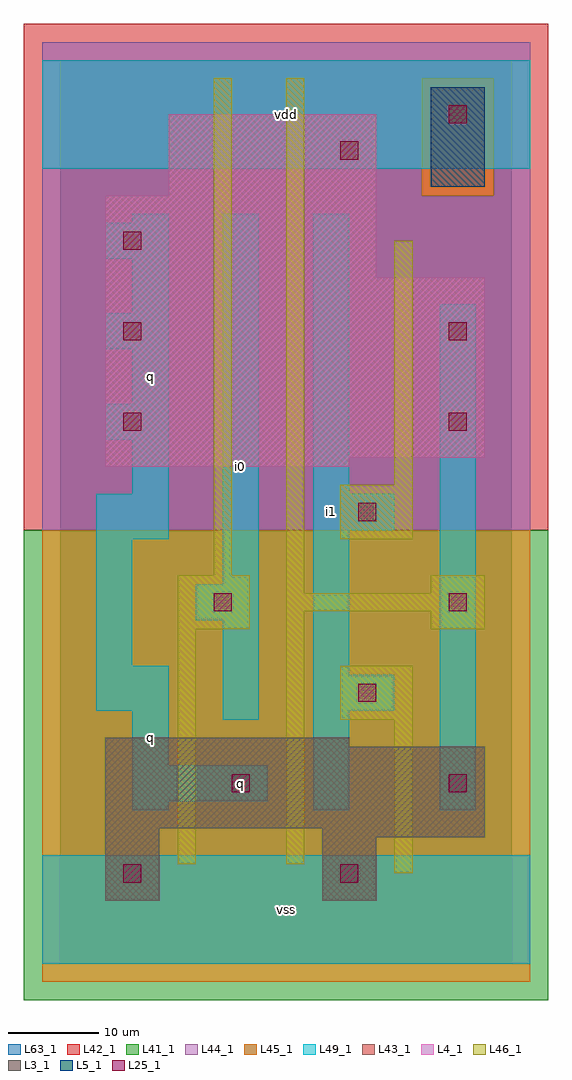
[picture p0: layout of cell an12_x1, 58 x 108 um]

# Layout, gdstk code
import gdstk
lib = gdstk.Library(unit=1e-6, precision=1e-09)
def R(c, l, rs):  # rectangles x0, y0, x1, y1
    for r in rs: c.add(gdstk.rectangle(r[:2], r[2:], *l))
def A(c, l, x, y, w, h, nx, ny, dx, dy):  # array of equal rectangles
    R(c, l, [(x+i*dx, y+j*dy, x+i*dx+w, y+j*dy+h) for i in range(nx) for j in range(ny)])
L3_1 = (3, 1)
L4_1 = (4, 1)
L5_1 = (5, 1)
L25_1 = (25, 1)
L41_1 = (41, 1)
L42_1 = (42, 1)
L43_1 = (43, 1)
L44_1 = (44, 1)
L45_1 = (45, 1)
L46_1 = (46, 1)
L49_1 = (49, 1)
L63_1 = (63, 1)

an12_x1 = lib.new_cell('an12_x1')
R(an12_x1, L3_1, [(5,7,11,15), (29,7,35,14), (29,14,47,15), (5,15,47,24), (5,24,32,25)])
R(an12_x1, L4_1, [(5,55,32,56), (5,56,47,76), (5,76,35,85), (12,85,35,94)])
R(an12_x1, L5_1, [(41,86,47,97)])
A(an12_x1, L25_1, 43, 19, 2, 2, 1, 3, 0, 20)
A(an12_x1, L25_1, 7, 59, 2, 2, 1, 3, 0, 10)
R(an12_x1, L25_1, [(7,9,9,11), (31,9,33,11), (19,19,21,21), (33,29,35,31), (17,39,19,41), (33,49,35,51), (43,69,45,71), (31,89,33,91), (43,93,45,95)])
R(an12_x1, L41_1, [(-4,-4,54,48)])
R(an12_x1, L42_1, [(-4,48,54,104)])
R(an12_x1, L43_1, [(5,7,11,15), (29,7,35,14), (29,14,47,15), (5,15,47,24), (5,24,32,25), (5,55,32,56), (5,56,47,76), (5,76,35,85), (12,85,35,94), (41,86,47,97)])
R(an12_x1, L44_1, [(-2,48,52,85), (-2,85,40,98), (48,85,52,98), (-2,98,52,102)])
R(an12_x1, L45_1, [(-2,-2,52,48), (40,85,48,98)])
R(an12_x1, L46_1, [(37,10,39,27), (13,11,15,37), (25,11,27,39), (31,27,39,33), (13,37,21,43), (41,37,47,39), (25,39,47,41), (25,41,27,98), (41,41,47,43), (17,43,19,98), (31,47,39,53), (37,53,39,80)])
A(an12_x1, L49_1, 8, 52, 4, 6, 1, 3, 0, 10)
A(an12_x1, L49_1, 5, 58, 7, 4, 1, 3, 0, 10)
R(an12_x1, L49_1, [(-2,0,52,12), (8,17,12,18), (28,17,32,28), (42,17,46,73), (8,18,23,22), (8,22,12,28), (18,27,22,38), (4,28,12,33), (28,28,37,32), (28,32,32,48), (4,33,8,47), (15,38,22,42), (18,42,22,83), (4,47,12,52), (28,48,37,52), (28,52,32,83), (8,82,12,83), (-2,88,52,100)])
R(an12_x1, L63_1, [(0,0,50,100)])
an12_x1.add(gdstk.Label('q', (20,20), layer=49, texttype=1))
an12_x1.add(gdstk.Label('q', (10,25), layer=49, texttype=1))
an12_x1.add(gdstk.Label('q', (10,65), layer=49, texttype=1))
an12_x1.add(gdstk.Label('i0', (20,55), layer=49, texttype=1))
an12_x1.add(gdstk.Label('vss', (25,6), layer=49, texttype=1))
an12_x1.add(gdstk.Label('i1', (30,50), layer=49, texttype=1))
an12_x1.add(gdstk.Label('vdd', (25,94), layer=49, texttype=1))

lib.write_gds('an12_x1.gds')
